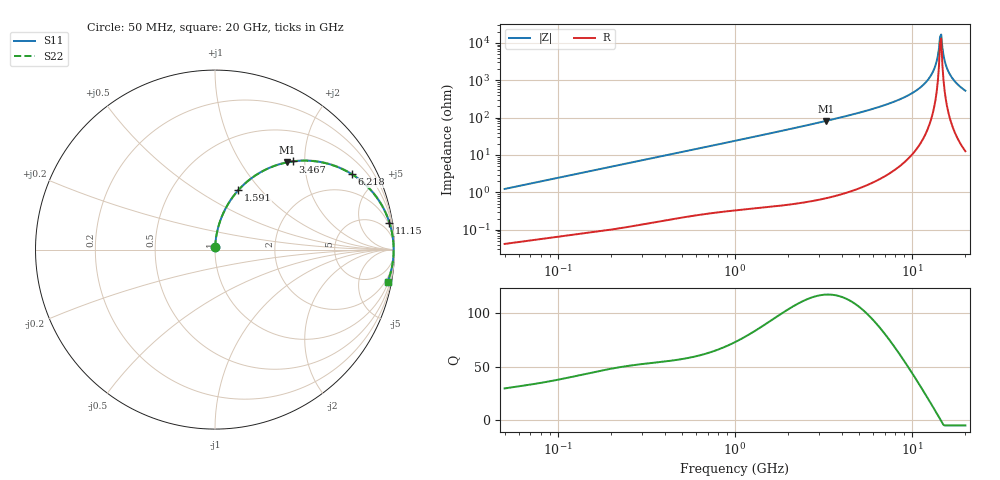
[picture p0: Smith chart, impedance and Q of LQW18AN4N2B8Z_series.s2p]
!Murata Part Number: LQW18AN4N2B8Z
!These Parameters are Measured in Series Mode Connection
!  o--[Z]--o
!Port1  Port2
!  o-------o
!Freq. Start=50[MHz] Stop=20[GHz], 401[Steps]
# Hz S RI R 50
!Freq.(Hz) S11(Real) S11(Imag) S21(Real) S21(Imag) S12(Real) S12(Imag) S22(Real) S22(Imag)
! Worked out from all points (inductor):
!   401 points, 50 MHz to 20 GHz, reference 50 ohm
!   read as one part in series: L = 3.91 nH near 51.52 MHz
!   highest Q = 117 at 3.265 GHz (marker M1), where L = 3.97 nH
!   self-resonance near 14.39 GHz
!   S11 on the Smith chart (normalised r, x): 50 MHz: 1.00, +0.02; 1.591 GHz: 1.01, +0.77; 3.467 GHz: 1.01, +1.74; 6.218 GHz: 1.04, +3.61; 11.15 GHz: 1, +13; 20 GHz: 1, -11
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5e7  0.00057 0.0123  0.9994 -0.0123  0.9994 -0.0123  0.00057 0.0123
1.364002e8  0.00188 0.0331  0.9981 -0.0331  0.9981 -0.0331  0.00188 0.0331
3.721004e8  0.0096 0.0887  0.9904 -0.0887  0.9904 -0.0887  0.0096 0.0887
1e9  0.057 0.225  0.943 -0.225  0.943 -0.225  0.057 0.225
1.590961e9  0.1303 0.3313  0.8697 -0.3313  0.8697 -0.3313  0.1303 0.3313
2.728004e9  0.3118 0.4589  0.6882 -0.4589  0.6882 -0.4589  0.3118 0.4589
3.265178e9  0.4002 0.4857  0.5998 -0.4857  0.5998 -0.4857  0.4002 0.4857
3.466789e9  0.4323 0.4911  0.5677 -0.4911  0.5677 -0.4911  0.4323 0.4911
6.217679e9  0.7627 0.42  0.2373 -0.42  0.2373 -0.42  0.7627 0.42
7.442007e9  0.848 0.3524  0.152 -0.3524  0.152 -0.3524  0.848 0.3524
9.457416e9  0.934 0.2385  0.066 -0.2385  0.066 -0.2385  0.934 0.2385
1.115139e10  0.972 0.1499  0.028 -0.1499  0.028 -0.1499  0.972 0.1499
1.220001e10  0.9852 0.0994  0.0148 -0.0994  0.0148 -0.0994  0.9852 0.0994
1.295331e10  0.9909 0.0653  0.00906 -0.0653  0.00906 -0.0653  0.9909 0.0653
1.354865e10  0.9937 0.0395  0.00629 -0.0395  0.00629 -0.0395  0.9937 0.0395
1.417136e10  0.9951 0.0136  0.00488 -0.0136  0.00488 -0.0136  0.9951 0.0136
1.460232e10  0.9953 -0.00363  0.00469 0.00363  0.00469 0.00363  0.9953 -0.00363
1.482269e10  0.9952 -0.0123  0.00482 0.0123  0.00482 0.0123  0.9952 -0.0123
1.550395e10  0.9939 -0.0381  0.0061 0.0381  0.0061 0.0381  0.9939 -0.0381
1.621653e10  0.9913 -0.0639  0.00874 0.0639  0.00874 0.0639  0.9913 -0.0639
1.774144e10  0.9819 -0.1151  0.0181 0.1151  0.0181 0.1151  0.9819 -0.1151
2e10  0.9611 -0.1816  0.0389 0.1816  0.0389 0.1816  0.9611 -0.1816
